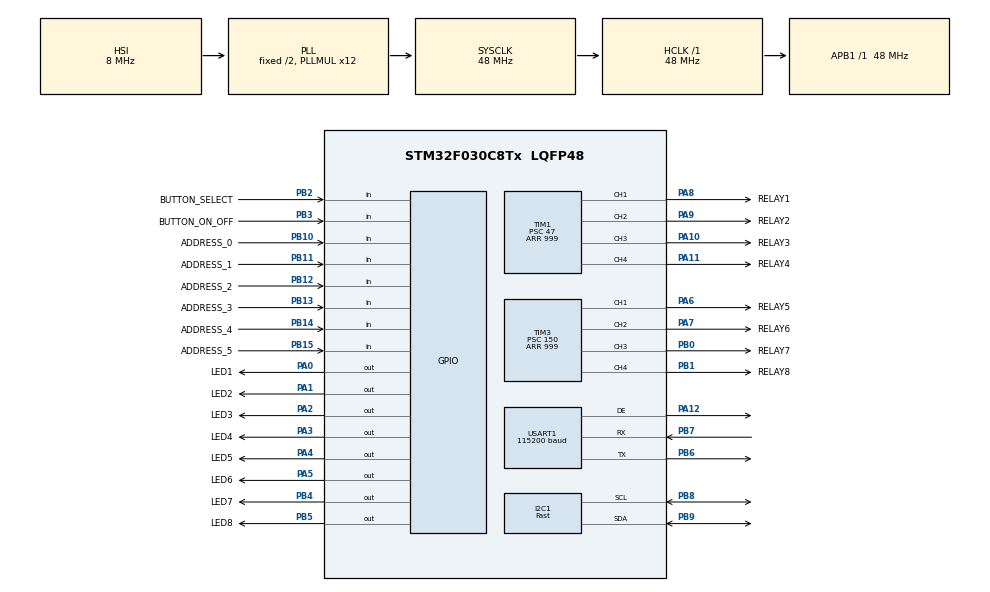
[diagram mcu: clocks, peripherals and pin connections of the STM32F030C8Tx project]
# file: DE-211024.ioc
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I2C1.I2C_Speed_Mode=I2C_Fast
I2C1.Timing=0x0010020A
Mcu.Family=STM32F0
Mcu.Name=STM32F030C8Tx
Mcu.Package=LQFP48
NVIC.USART1_IRQn=true\:0\:0\:false\:false\:true\:true\:true\:true
PA0.GPIO_Label=LED1
PA0.Signal=GPIO_Output
PA1.GPIO_Label=LED2
PA1.Signal=GPIO_Output
PA10.GPIO_Label=RELAY3
PA10.Signal=S_TIM1_CH3
PA11.GPIO_Label=RELAY4
PA11.Signal=S_TIM1_CH4
PA12.Mode=Hardware Flow Control (RS485)
PA12.Signal=USART1_DE
PA13.Mode=Serial_Wire
PA13.Signal=SYS_SWDIO
PA14.Mode=Serial_Wire
PA14.Signal=SYS_SWCLK
PA2.GPIO_Label=LED3
PA2.Signal=GPIO_Output
PA3.GPIO_Label=LED4
PA3.Signal=GPIO_Output
PA4.GPIO_Label=LED5
PA4.Signal=GPIO_Output
PA5.GPIO_Label=LED6
PA5.Signal=GPIO_Output
PA6.GPIO_Label=RELAY5
PA6.Signal=S_TIM3_CH1
PA7.GPIO_Label=RELAY6
PA7.Signal=S_TIM3_CH2
PA8.GPIO_Label=RELAY1
PA8.Signal=S_TIM1_CH1
PA9.GPIO_Label=RELAY2
PA9.Signal=S_TIM1_CH2
PB0.GPIO_Label=RELAY7
PB0.Signal=S_TIM3_CH3
PB1.GPIO_Label=RELAY8
PB1.Signal=S_TIM3_CH4
PB10.GPIO_Label=ADDRESS_0
PB10.GPIO_PuPd=GPIO_PULLUP
PB10.Signal=GPIO_Input
PB11.GPIO_Label=ADDRESS_1
PB11.GPIO_PuPd=GPIO_PULLUP
PB11.Signal=GPIO_Input
PB12.GPIO_Label=ADDRESS_2
PB12.GPIO_PuPd=GPIO_PULLUP
PB12.Signal=GPIO_Input
PB13.GPIO_Label=ADDRESS_3
PB13.GPIO_PuPd=GPIO_PULLUP
PB13.Signal=GPIO_Input
PB14.GPIO_Label=ADDRESS_4
PB14.GPIO_PuPd=GPIO_PULLUP
PB14.Signal=GPIO_Input
PB15.GPIO_Label=ADDRESS_5
PB15.GPIO_PuPd=GPIO_PULLUP
PB15.Signal=GPIO_Input
PB2.GPIO_Label=BUTTON_SELECT
PB2.GPIO_PuPd=GPIO_PULLUP
PB2.Signal=GPIO_Input
PB3.GPIO_Label=BUTTON_ON_OFF
PB3.GPIO_PuPd=GPIO_PULLUP
PB3.Signal=GPIO_Input
PB4.GPIO_Label=LED7
PB4.Signal=GPIO_Output
PB5.GPIO_Label=LED8
PB5.Signal=GPIO_Output
PB6.Mode=Asynchronous
PB6.Signal=USART1_TX
PB7.Mode=Asynchronous
PB7.Signal=USART1_RX
PB8.Mode=I2C
PB8.Signal=I2C1_SCL
PB9.Mode=I2C
PB9.Signal=I2C1_SDA
ProjectManager.HeapSize=0x200
ProjectManager.StackSize=0x400
ProjectManager.TargetToolchain=MDK-ARM V5.32
RCC.AHBFreq_Value=48000000
RCC.APB1Freq_Value=48000000
RCC.APB1TimFreq_Value=48000000
RCC.HCLKFreq_Value=48000000
RCC.PLLMUL=RCC_PLL_MUL12
RCC.SYSCLKFreq_VALUE=48000000
RCC.SYSCLKSource=RCC_SYSCLKSOURCE_PLLCLK
SH.S_TIM1_CH1.0=TIM1_CH1,PWM Generation1 CH1
SH.S_TIM1_CH2.0=TIM1_CH2,PWM Generation2 CH2
SH.S_TIM1_CH3.0=TIM1_CH3,PWM Generation3 CH3
SH.S_TIM1_CH4.0=TIM1_CH4,PWM Generation4 CH4
SH.S_TIM3_CH1.0=TIM3_CH1,PWM Generation1 CH1
SH.S_TIM3_CH2.0=TIM3_CH2,PWM Generation2 CH2
SH.S_TIM3_CH3.0=TIM3_CH3,PWM Generation3 CH3
SH.S_TIM3_CH4.0=TIM3_CH4,PWM Generation4 CH4
TIM1.Channel-PWM\ Generation1\ CH1=TIM_CHANNEL_1
TIM1.Channel-PWM\ Generation2\ CH2=TIM_CHANNEL_2
TIM1.Channel-PWM\ Generation3\ CH3=TIM_CHANNEL_3
TIM1.Channel-PWM\ Generation4\ CH4=TIM_CHANNEL_4
TIM1.Period=999
TIM1.Prescaler=47
TIM3.Channel-PWM\ Generation1\ CH1=TIM_CHANNEL_1
TIM3.Channel-PWM\ Generation2\ CH2=TIM_CHANNEL_2
TIM3.Channel-PWM\ Generation3\ CH3=TIM_CHANNEL_3
TIM3.Channel-PWM\ Generation4\ CH4=TIM_CHANNEL_4
TIM3.Period=999
TIM3.Prescaler=150
USART1.BaudRate=115200
USART1.VirtualMode-Asynchronous=VM_ASYNC
USART1.VirtualMode-Hardware\ Flow\ Control\ (RS485)=VM_ASYNC
VP_CRC_VS_CRC.Mode=CRC_Activate
VP_IWDG_VS_IWDG.Mode=IWDG_Activate
VP_TIM1_VS_ClockSourceINT.Mode=Internal
VP_TIM3_VS_ClockSourceINT.Mode=Internal
board=custom

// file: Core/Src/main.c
/* USER CODE BEGIN Header */
/**
  ******************************************************************************
  * @file           : main.c
  * @brief          : Main program body
  ******************************************************************************
  * @attention
  *
  * Copyright (c) 2025 STMicroelectronics.
  * All rights reserved.
  *
  * This software is licensed under terms that can be found in the LICENSE file
  * in the root directory of this software component.
  * If no LICENSE file comes with this software, it is provided AS-IS.
  *
  ******************************************************************************
  */
/* USER CODE END Header */
#include "main.h"

/* USER CODE BEGIN Includes */
#include <stdio.h>
#include <string.h>
#include <stdarg.h>
#include <stdlib.h>
/* USER CODE END Includes */

/* USER CODE BEGIN PTD */
// Struktura za pracenje stanja releja
typedef struct {
    uint8_t last_state;
    uint32_t timer;  // Vreme kada je relej poslednji put pre�ao u PWM
} RelayState;

RelayState relayStates[8];  // Struktura za 8 releja
/* USER CODE END PTD */

/* USER CODE BEGIN PD */
#define DIMRXBUF_SIZE 16
#define NUMBER_OF_RELAY 8
#define MENU_TIMEOUT 10000 // 10 sekundi timeout
#define SHORT_PRESS_MIN 10  // 10 ms
#define SHORT_PRESS_MAX 200 // 200 ms
#define LONG_PRESS_MIN 1000 // 1 sekunda
#define RESET_PRESS_MIN 5000 // 5 sekunda
#define LONG_PRESS_INTERVAL 5 // Brzina promjene kod dugog pritiska
#define INCREMENT_STEP 5   // Korak inkrementacije za dugi pritisak
#define TOGGLE_INTERVAL 200 // Period treptanja LED
#define ERROR_TOGGLE_INTERVAL 50 // Period treptanja LED kod greï¿½ke
#define BUTTON_PAUSE    200 // dodatni debouncing
/* USER CODE END PD */

CRC_HandleTypeDef hcrc;

I2C_HandleTypeDef hi2c1;

IWDG_HandleTypeDef hiwdg;

TIM_HandleTypeDef htim1;
TIM_HandleTypeDef htim3;

UART_HandleTypeDef huart1;

/* USER CODE BEGIN PV */
TinyFrame tfapp;

GPIO_TypeDef *LED_PORT[8] = {GPIOA, GPIOA, GPIOA, GPIOA, GPIOA, GPIOA, GPIOB, GPIOB};
uint16_t LED_PIN[8] = {GPIO_PIN_0, GPIO_PIN_1, GPIO_PIN_2, GPIO_PIN_3,GPIO_PIN_4 ,GPIO_PIN_5 ,GPIO_PIN_4 ,GPIO_PIN_5};

volatile uint8_t selected_channel = 7;
volatile uint8_t menu_activ = 0;
volatile uint32_t menu_timer = 0;
volatile uint8_t toggle_state = 0;
volatile uint8_t error_state = 0;
volatile uint32_t last_press_time = 0;
volatile uint32_t last_toggle_time = 0;
volatile uint32_t last_check_time = 0;
volatile uint32_t last_err_toggle_time = 0;
volatile uint32_t last_increment_time = 0;
uint8_t button_select_prev = 0, button_onoff_prev = 0;

// Definicije za stanja releja
uint8_t relay_states[8] = {0};      // Trenutnostanje releja
uint8_t relay_old_states[8] = {0};  // Flagovi promjene stanja releja
uint8_t relay_duty_cycle = 50;      // Pocetni duty cycle (50%)

static uint32_t current_tick = 0;   // trenutni vremenski otisak
static uint32_t pause_tick = 0;     // vremenski otisak za pauzu od 10000ms
static uint32_t pause = 100;
static uint8_t i = 0;               // trenutni broj releja
static uint8_t t = 0;               // stanje releja (0 ili 1)

static uint8_t my_address = 0;
static uint16_t rel_start = 0;
static uint16_t rel_end = 0;
bool init_tf = false;
bool restart = false;
uint8_t rec, multiplier = 1;
/* USER CODE END PV */

void SystemClock_Config(void);
static void MX_GPIO_Init(void);
static void MX_CRC_Init(void);
static void MX_I2C1_Init(void);
static void MX_IWDG_Init(void);
static void MX_TIM1_Init(void);
static void MX_TIM3_Init(void);
static void MX_USART1_UART_Init(void);
/* USER CODE BEGIN PFP */
void RS485_Init(void);
/* USER CODE END PFP */

/* USER CODE BEGIN 0 */
/**
  * @brief  staticka inline funkcija pauze 1~2ms za kašnjenje odgovora za stabilne repeatere
  *         u interruptu se ne može koristiti HAL_GetTick ni HAL_Delay tako da ova funkcija
  *         obezbjeduje kašnjenje oko 1 ms bez hal drivera gubljenjem vremena izvršavanjem
  *         ciklusa koji ne rade ništa
  * @param
  * @retval
  */
static inline void delay_us(uint32_t us) {
    volatile uint32_t cycles = (HAL_RCC_GetHCLKFreq() / 20000000) * us;  // Smanjen faktor
    while (cycles--) {
        __asm volatile("NOP");  // Izbegava optimizaciju
    }
}
/**
  * @brief  mali efekt sa LED diodama prednjeg panela kod ukljucenja
  * @param
  * @retval
  */
void start_effect(void) {
    const uint8_t order[][2] = {
        {4, 5}, {3, 6}, {2, 7}, {1, 8}, // Paljenje
        {4, 5}, {3, 6}, {2, 7}, {1, 8}  // Gašenje
    };
    HAL_Delay(300);
    for (int i = 0; i < 8; i++) {
        GPIO_PinState state = (i < 4) ? GPIO_PIN_SET : GPIO_PIN_RESET;
        HAL_GPIO_WritePin(LED_PORT[order[i][0] - 1], LED_PIN[order[i][0] - 1], state);
        HAL_GPIO_WritePin(LED_PORT[order[i][1] - 1], LED_PIN[order[i][1] - 1], state);
        HAL_Delay(50);
#ifdef USE_WATCHDOG
        HAL_IWDG_Refresh(&hiwdg);
#endif
    }
}
/**
  * @brief  podesi adresu modula dimera na busu prema poziciji DIP switcha
  * @param
  * @retval
  */
void get_address(void)
{
    my_address = 0;
    if ((HAL_GPIO_ReadPin(ADDRESS_0_GPIO_Port, ADDRESS_0_Pin) == GPIO_PIN_RESET))   my_address |= 0x01;
    if ((HAL_GPIO_ReadPin(ADDRESS_1_GPIO_Port, ADDRESS_1_Pin) == GPIO_PIN_RESET))   my_address |= 0x02;
    if ((HAL_GPIO_ReadPin(ADDRESS_2_GPIO_Port, ADDRESS_2_Pin) == GPIO_PIN_RESET))   my_address |= 0x04;
    if ((HAL_GPIO_ReadPin(ADDRESS_3_GPIO_Port, ADDRESS_3_Pin) == GPIO_PIN_RESET))   my_address |= 0x08;
    if ((HAL_GPIO_ReadPin(ADDRESS_4_GPIO_Port, ADDRESS_4_Pin) == GPIO_PIN_RESET))   my_address |= 0x10;
    if ((HAL_GPIO_ReadPin(ADDRESS_5_GPIO_Port, ADDRESS_5_Pin) == GPIO_PIN_RESET))   my_address |= 0x20;
    if(my_address)
    {
        rel_start = (NUMBER_OF_RELAY*multiplier*(my_address-1))+1;
        rel_end = rel_start + (NUMBER_OF_RELAY*multiplier)-1;
    }
}
/**
  * @brief  funkcija za kontrolu releja koja kod uključenja relej starta sa punim izlazom a nakon
  *         inicijalnog stanja prelazi u 60% pwm mod, tako da je grijanje releja svedeno na minimum
  * @param
  * @retval
  */
void relay_update(uint8_t relay_num, uint8_t state)
{
    static uint32_t last_state[8] = {0};        // flag prošlog stanaja tako da sam o prva promjena utiče na funkciju
    static uint32_t last_change_time[8] = {0};  // Čuvanje vremena poslednje promene stanja za svaki relej
    static uint32_t pwm_duty_cycle[8] = {0};  // Početni duty cycle za svaki relej (100% kada je uključen)
    uint32_t current_tick = HAL_GetTick();      // Vreme u milisekundama

    // Proveri sve releje svaki put kada se funkcija pozove
    for (int i = 0; i < 8; i++) {
        // Ako je prošlo više od 1000 ms (1 sekunda) od poslednje promene za taj relej
        if (current_tick - last_change_time[i] >= 1000) {
            if (pwm_duty_cycle[i] == 100) {
                pwm_duty_cycle[i] = 60;  // Prebaci PWM na 60% nakon 1 sekunde
            }
        }
    }

    // Ako je stanje 1 (uključi relej)
    if ((state == 1) && !last_state[relay_num]) {
        last_state[relay_num] = state;
        last_change_time[relay_num] = current_tick;  // Ažuriraj poslednje vreme kada je stanje promenjeno
        pwm_duty_cycle[relay_num] = 100;  // PWM na 100%
    }
    // Ako je stanje 0 (isključi relej)
    else if ((state == 0) && last_state[relay_num]) {
        last_state[relay_num] = state;
        pwm_duty_cycle[relay_num] = 0;  // Postavi PWM na 0%
        last_change_time[relay_num] = current_tick;  // Ažuriraj poslednje vreme kada je stanje promenjeno
    }

    __HAL_TIM_SET_COMPARE(&htim1, TIM_CHANNEL_1, (htim1.Init.Period + 1) * pwm_duty_cycle[0] / 100);
    __HAL_TIM_SET_COMPARE(&htim1, TIM_CHANNEL_2, (htim1.Init.Period + 1) * pwm_duty_cycle[1] / 100);
    __HAL_TIM_SET_COMPARE(&htim1, TIM_CHANNEL_3, (htim1.Init.Period + 1) * pwm_duty_cycle[2] / 100);
    __HAL_TIM_SET_COMPARE(&htim1, TIM_CHANNEL_4, (htim1.Init.Period + 1) * pwm_duty_cycle[3] / 100);
    __HAL_TIM_SET_COMPARE(&htim3, TIM_CHANNEL_1, (htim3.Init.Period + 1) * pwm_duty_cycle[4] / 100);
    __HAL_TIM_SET_COMPARE(&htim3, TIM_CHANNEL_2, (htim3.Init.Period + 1) * pwm_duty_cycle[5] / 100);
    __HAL_TIM_SET_COMPARE(&htim3, TIM_CHANNEL_3, (htim3.Init.Period + 1) * pwm_duty_cycle[6] / 100);
    __HAL_TIM_SET_COMPARE(&htim3, TIM_CHANNEL_4, (htim3.Init.Period + 1) * pwm_duty_cycle[7] / 100);

    for(int i = 0; i < 8; i++)
    {
        relay_states[i] = (pwm_duty_cycle[i] > 0) ? 1:0;

    }
}
/**
  * @brief  kopira stanje izlaza na LED prednjeg panela
  * @param
  * @retval
  */
void refresh_led(void)
{
    for (uint8_t i = 0; i < 8; i++)
    {
        HAL_GPIO_WritePin(LED_PORT[i], LED_PIN[i], (relay_states[i] > 0) ? GPIO_PIN_SET : GPIO_PIN_RESET);
    }
}
/**
  * @brief  reaguje na pritisak tastera na prednjem panelu modula
  * @param
  * @retval
  */
void handle_buttons(void)
{
    uint32_t current_time = HAL_GetTick();
    uint8_t button_select = HAL_GPIO_ReadPin(GPIOB, GPIO_PIN_2);
    uint8_t button_onoff = HAL_GPIO_ReadPin(GPIOB, GPIO_PIN_3);

    if (button_select == GPIO_PIN_RESET) {
        if (!button_select_prev) {
            button_select_prev = 1; // lock press time load
            menu_activ = 1;
            toggle_state = 1;
            if(++selected_channel > 7) selected_channel = 0;
            menu_timer = current_time + MENU_TIMEOUT;
            last_press_time = current_time; // load first press time
            refresh_led();
            get_address();
            HAL_Delay(BUTTON_PAUSE);
        }
        else if (error_state && (current_time - last_press_time > RESET_PRESS_MIN))
        {

        }
    }
    else if ((button_select == GPIO_PIN_SET) && button_select_prev)
    {
        button_select_prev = 0;
        HAL_Delay(BUTTON_PAUSE);
        refresh_led();
    }

    if (menu_activ && (button_onoff == GPIO_PIN_RESET)) {
        if (!button_onoff_prev) {
            button_onoff_prev = 1; // lock press time load
            last_press_time = current_time; // load first press time
            if(relay_states[selected_channel] > 0) relay_states[selected_channel] = 0;
            else relay_states[selected_channel] = 1;

            HAL_Delay(BUTTON_PAUSE);
        }
        menu_timer = current_time + MENU_TIMEOUT;
    }
    else if ((button_onoff == GPIO_PIN_SET) && button_onoff_prev)
    {
        button_onoff_prev = 0; // release button press
        HAL_Delay(BUTTON_PAUSE);
    }
}
/**
  * @brief  logika korisnickog menija sa led diodama i tasterima na prednjem panelu modula
  * @param
  * @retval
  */
void menu_logic(void)
{
    uint32_t current_time = HAL_GetTick();

    if (current_time > menu_timer) {
        selected_channel = 7;
        menu_activ = 0;
        toggle_state = 0;
        refresh_led();
    }

    // Definiši vremenske intervale zavisno od relay_states
    uint32_t on_time, off_time;
    if (relay_states[selected_channel] == 1) {
        on_time = TOGGLE_INTERVAL * 3;  // LED ON 3x duže
        off_time = TOGGLE_INTERVAL;     // LED OFF normalno
    } else {
        on_time = TOGGLE_INTERVAL;      // LED ON normalno
        off_time = TOGGLE_INTERVAL * 3; // LED OFF 75% duže
    }

    uint32_t toggle_period = toggle_state ? on_time : off_time;

    if (current_time - last_toggle_time >= toggle_period) {
        HAL_GPIO_TogglePin(LED_PORT[selected_channel], LED_PIN[selected_channel]);
        toggle_state = !toggle_state;  // Promena stanja
        last_toggle_time = current_time;
    }
}
/**
  * @brief  funkcija obezbjeđuje ispravan poziv update releja kod
  *         brze izmjene stanja sa busa, svaki relej će preći iz
  *         100% u 60% pwm mod kada je uključen
  * @param
  * @retval
  */
void set_relay(void)
{
    static uint32_t set_tmr = 0;
    for(int i = 0; i < NUMBER_OF_RELAY; i++)
    {
        if(relay_states[i] != relay_old_states[i])
        {
            set_tmr = HAL_GetTick();
            relay_old_states[i] = relay_states[i];
            relay_update(i, relay_states[i]);
        }
    }
    if(set_tmr && ((HAL_GetTick() - set_tmr) >= 1000))
    {
        set_tmr = 0;
        for(int i = 0; i < NUMBER_OF_RELAY; i++)
        {
            relay_update(i, relay_states[i]);
        }
    }
}
/* USER CODE END 0 */

int main(void)
{

    /* MCU Configuration--------------------------------------------------------*/

    /* Reset of all peripherals, Initializes the Flash interface and the Systick. */
    HAL_Init();

    /* Configure the system clock */
    SystemClock_Config();

    /* Initialize all configured peripherals */
    MX_GPIO_Init();
    MX_CRC_Init();
    MX_I2C1_Init();
    MX_IWDG_Init();
    MX_TIM1_Init();
    MX_TIM3_Init();
    MX_USART1_UART_Init();
    /* USER CODE BEGIN 2 */
    RS485_Init();
    start_effect();
    start_effect();
    start_effect();
    get_address();
    /* USER CODE END 2 */

    /* Infinite loop */
    /* USER CODE BEGIN WHILE */
    while (1)
    {
        if(restart == true) Error_Handler();
        handle_buttons();
        menu_logic();
        /* USER CODE END WHILE */

        /* USER CODE BEGIN 3 */
        set_relay();

#ifdef USE_WATCHDOG
        HAL_IWDG_Refresh(&hiwdg);
#endif
    }
    /* USER CODE END 3 */
}

void SystemClock_Config(void)
{
    RCC_OscInitTypeDef RCC_OscInitStruct = {0};
    RCC_ClkInitTypeDef RCC_ClkInitStruct = {0};
    RCC_PeriphCLKInitTypeDef PeriphClkInit = {0};

    /** Initializes the RCC Oscillators according to the specified parameters
    * in the RCC_OscInitTypeDef structure.
    */
    RCC_OscInitStruct.OscillatorType = RCC_OSCILLATORTYPE_HSI|RCC_OSCILLATORTYPE_LSI;
    RCC_OscInitStruct.HSIState = RCC_HSI_ON;
    RCC_OscInitStruct.HSICalibrationValue = RCC_HSICALIBRATION_DEFAULT;
    RCC_OscInitStruct.LSIState = RCC_LSI_ON;
    RCC_OscInitStruct.PLL.PLLState = RCC_PLL_ON;
    RCC_OscInitStruct.PLL.PLLSource = RCC_PLLSOURCE_HSI;
    RCC_OscInitStruct.PLL.PLLMUL = RCC_PLL_MUL12;
    RCC_OscInitStruct.PLL.PREDIV = RCC_PREDIV_DIV1;
    if (HAL_RCC_OscConfig(&RCC_OscInitStruct) != HAL_OK)
    {
        Error_Handler();
    }

    /** Initializes the CPU, AHB and APB buses clocks
    */
    RCC_ClkInitStruct.ClockType = RCC_CLOCKTYPE_HCLK|RCC_CLOCKTYPE_SYSCLK
                                  |RCC_CLOCKTYPE_PCLK1;
    RCC_ClkInitStruct.SYSCLKSource = RCC_SYSCLKSOURCE_PLLCLK;
    RCC_ClkInitStruct.AHBCLKDivider = RCC_SYSCLK_DIV1;
    RCC_ClkInitStruct.APB1CLKDivider = RCC_HCLK_DIV1;

    if (HAL_RCC_ClockConfig(&RCC_ClkInitStruct, FLASH_LATENCY_1) != HAL_OK)
    {
        Error_Handler();
    }
    PeriphClkInit.PeriphClockSelection = RCC_PERIPHCLK_USART1|RCC_PERIPHCLK_I2C1;
    PeriphClkInit.Usart1ClockSelection = RCC_USART1CLKSOURCE_PCLK1;
    PeriphClkInit.I2c1ClockSelection = RCC_I2C1CLKSOURCE_HSI;
    if (HAL_RCCEx_PeriphCLKConfig(&PeriphClkInit) != HAL_OK)
    {
        Error_Handler();
    }
}

static void MX_CRC_Init(void)
{

    hcrc.Instance = CRC;
    hcrc.Init.DefaultInitValueUse = DEFAULT_INIT_VALUE_ENABLE;
    hcrc.Init.InputDataInversionMode = CRC_INPUTDATA_INVERSION_NONE;
    hcrc.Init.OutputDataInversionMode = CRC_OUTPUTDATA_INVERSION_DISABLE;
    hcrc.InputDataFormat = CRC_INPUTDATA_FORMAT_BYTES;
    if (HAL_CRC_Init(&hcrc) != HAL_OK)
    {
        Error_Handler();
    }

}

static void MX_I2C1_Init(void)
{

    hi2c1.Instance = I2C1;
    hi2c1.Init.Timing = 0x0010020A;
    hi2c1.Init.OwnAddress1 = 0;
    hi2c1.Init.AddressingMode = I2C_ADDRESSINGMODE_7BIT;
    hi2c1.Init.DualAddressMode = I2C_DUALADDRESS_DISABLE;
    hi2c1.Init.OwnAddress2 = 0;
    hi2c1.Init.OwnAddress2Masks = I2C_OA2_NOMASK;
    hi2c1.Init.GeneralCallMode = I2C_GENERALCALL_DISABLE;
    hi2c1.Init.NoStretchMode = I2C_NOSTRETCH_DISABLE;
    if (HAL_I2C_Init(&hi2c1) != HAL_OK)
    {
        Error_Handler();
    }

    /** Configure Analogue filter
    */
    if (HAL_I2CEx_ConfigAnalogFilter(&hi2c1, I2C_ANALOGFILTER_ENABLE) != HAL_OK)
    {
        Error_Handler();
    }

    /** Configure Digital filter
    */
    if (HAL_I2CEx_ConfigDigitalFilter(&hi2c1, 0) != HAL_OK)
    {
        Error_Handler();
    }

}

static void MX_IWDG_Init(void)
{

    /* USER CODE BEGIN IWDG_Init 0 */
#ifdef USE_WATCHDOG
    /* USER CODE END IWDG_Init 0 */

    hiwdg.Instance = IWDG;
    hiwdg.Init.Prescaler = IWDG_PRESCALER_64;
    hiwdg.Init.Window = 4095;
    hiwdg.Init.Reload = 4095;
    if (HAL_IWDG_Init(&hiwdg) != HAL_OK)
    {
        Error_Handler();
    }
    /* USER CODE BEGIN IWDG_Init 2 */
#endif
    /* USER CODE END IWDG_Init 2 */

}

static void MX_TIM1_Init(void)
{

    TIM_ClockConfigTypeDef sClockSourceConfig = {0};
    TIM_MasterConfigTypeDef sMasterConfig = {0};
    TIM_OC_InitTypeDef sConfigOC = {0};
    TIM_BreakDeadTimeConfigTypeDef sBreakDeadTimeConfig = {0};

    htim1.Instance = TIM1;
    htim1.Init.Prescaler = 150;
    htim1.Init.CounterMode = TIM_COUNTERMODE_UP;
    htim1.Init.Period = 999;
    htim1.Init.ClockDivision = TIM_CLOCKDIVISION_DIV1;
    htim1.Init.RepetitionCounter = 0;
    htim1.Init.AutoReloadPreload = TIM_AUTORELOAD_PRELOAD_DISABLE;
    if (HAL_TIM_Base_Init(&htim1) != HAL_OK)
    {
        Error_Handler();
    }
    sClockSourceConfig.ClockSource = TIM_CLOCKSOURCE_INTERNAL;
    if (HAL_TIM_ConfigClockSource(&htim1, &sClockSourceConfig) != HAL_OK)
    {
        Error_Handler();
    }
    if (HAL_TIM_PWM_Init(&htim1) != HAL_OK)
    {
        Error_Handler();
    }
    sMasterConfig.MasterOutputTrigger = TIM_TRGO_RESET;
    sMasterConfig.MasterSlaveMode = TIM_MASTERSLAVEMODE_DISABLE;
    if (HAL_TIMEx_MasterConfigSynchronization(&htim1, &sMasterConfig) != HAL_OK)
    {
        Error_Handler();
    }
    sConfigOC.OCMode = TIM_OCMODE_PWM1;
    sConfigOC.Pulse = 0;
    sConfigOC.OCPolarity = TIM_OCPOLARITY_HIGH;
    sConfigOC.OCNPolarity = TIM_OCNPOLARITY_HIGH;
    sConfigOC.OCFastMode = TIM_OCFAST_DISABLE;
    sConfigOC.OCIdleState = TIM_OCIDLESTATE_RESET;
    sConfigOC.OCNIdleState = TIM_OCNIDLESTATE_RESET;
    if (HAL_TIM_PWM_ConfigChannel(&htim1, &sConfigOC, TIM_CHANNEL_1) != HAL_OK)
    {
        Error_Handler();
    }
    if (HAL_TIM_PWM_ConfigChannel(&htim1, &sConfigOC, TIM_CHANNEL_2) != HAL_OK)
    {
        Error_Handler();
    }
    if (HAL_TIM_PWM_ConfigChannel(&htim1, &sConfigOC, TIM_CHANNEL_3) != HAL_OK)
    {
        Error_Handler();
    }
    if (HAL_TIM_PWM_ConfigChannel(&htim1, &sConfigOC, TIM_CHANNEL_4) != HAL_OK)
    {
        Error_Handler();
    }
    sBreakDeadTimeConfig.OffStateRunMode = TIM_OSSR_DISABLE;
    sBreakDeadTimeConfig.OffStateIDLEMode = TIM_OSSI_DISABLE;
    sBreakDeadTimeConfig.LockLevel = TIM_LOCKLEVEL_OFF;
    sBreakDeadTimeConfig.DeadTime = 0;
    sBreakDeadTimeConfig.BreakState = TIM_BREAK_DISABLE;
    sBreakDeadTimeConfig.BreakPolarity = TIM_BREAKPOLARITY_HIGH;
    sBreakDeadTimeConfig.AutomaticOutput = TIM_AUTOMATICOUTPUT_DISABLE;
    if (HAL_TIMEx_ConfigBreakDeadTime(&htim1, &sBreakDeadTimeConfig) != HAL_OK)
    {
        Error_Handler();
    }
    /* USER CODE BEGIN TIM1_Init 2 */
    // Pokretanje PWM-a
    HAL_TIM_PWM_Start(&htim1, TIM_CHANNEL_1);
    HAL_TIM_PWM_Start(&htim1, TIM_CHANNEL_2);
    HAL_TIM_PWM_Start(&htim1, TIM_CHANNEL_3);
    HAL_TIM_PWM_Start(&htim1, TIM_CHANNEL_4);
    /* USER CODE END TIM1_Init 2 */
    HAL_TIM_MspPostInit(&htim1);

}

static void MX_TIM3_Init(void)
{

    TIM_ClockConfigTypeDef sClockSourceConfig = {0};
    TIM_MasterConfigTypeDef sMasterConfig = {0};
    TIM_OC_InitTypeDef sConfigOC = {0};

    htim3.Instance = TIM3;
    htim3.Init.Prescaler = 150;
    htim3.Init.CounterMode = TIM_COUNTERMODE_UP;
    htim3.Init.Period = 999;
    htim3.Init.ClockDivision = TIM_CLOCKDIVISION_DIV1;
    htim3.Init.AutoReloadPreload = TIM_AUTORELOAD_PRELOAD_DISABLE;
    if (HAL_TIM_Base_Init(&htim3) != HAL_OK)
    {
        Error_Handler();
    }
    sClockSourceConfig.ClockSource = TIM_CLOCKSOURCE_INTERNAL;
    if (HAL_TIM_ConfigClockSource(&htim3, &sClockSourceConfig) != HAL_OK)
    {
        Error_Handler();
    }
    if (HAL_TIM_PWM_Init(&htim3) != HAL_OK)
    {
        Error_Handler();
    }
    sMasterConfig.MasterOutputTrigger = TIM_TRGO_RESET;
    sMasterConfig.MasterSlaveMode = TIM_MASTERSLAVEMODE_DISABLE;
    if (HAL_TIMEx_MasterConfigSynchronization(&htim3, &sMasterConfig) != HAL_OK)
    {
        Error_Handler();
    }
    sConfigOC.OCMode = TIM_OCMODE_PWM1;
    sConfigOC.Pulse = 0;
    sConfigOC.OCPolarity = TIM_OCPOLARITY_HIGH;
    sConfigOC.OCFastMode = TIM_OCFAST_DISABLE;
    if (HAL_TIM_PWM_ConfigChannel(&htim3, &sConfigOC, TIM_CHANNEL_1) != HAL_OK)
    {
        Error_Handler();
    }
    if (HAL_TIM_PWM_ConfigChannel(&htim3, &sConfigOC, TIM_CHANNEL_2) != HAL_OK)
    {
        Error_Handler();
    }
    if (HAL_TIM_PWM_ConfigChannel(&htim3, &sConfigOC, TIM_CHANNEL_3) != HAL_OK)
    {
        Error_Handler();
    }
    if (HAL_TIM_PWM_ConfigChannel(&htim3, &sConfigOC, TIM_CHANNEL_4) != HAL_OK)
    {
        Error_Handler();
    }
    /* USER CODE BEGIN TIM3_Init 2 */
    HAL_TIM_PWM_Start(&htim3, TIM_CHANNEL_1);
    HAL_TIM_PWM_Start(&htim3, TIM_CHANNEL_2);
    HAL_TIM_PWM_Start(&htim3, TIM_CHANNEL_3);
    HAL_TIM_PWM_Start(&htim3, TIM_CHANNEL_4);
    /* USER CODE END TIM3_Init 2 */
    HAL_TIM_MspPostInit(&htim3);

}

static void MX_USART1_UART_Init(void)
{

    huart1.Instance = USART1;
    huart1.Init.BaudRate = 115200;
    huart1.Init.WordLength = UART_WORDLENGTH_8B;
    huart1.Init.StopBits = UART_STOPBITS_1;
    huart1.Init.Parity = UART_PARITY_NONE;
    huart1.Init.Mode = UART_MODE_TX_RX;
    huart1.Init.HwFlowCtl = UART_HWCONTROL_NONE;
    huart1.Init.OverSampling = UART_OVERSAMPLING_16;
    huart1.Init.OneBitSampling = UART_ONE_BIT_SAMPLE_DISABLE;
    huart1.AdvancedInit.AdvFeatureInit = UART_ADVFEATURE_NO_INIT;
    if (HAL_RS485Ex_Init(&huart1, UART_DE_POLARITY_HIGH, 0, 0) != HAL_OK)
    {
        Error_Handler();
    }

}

static void MX_GPIO_Init(void)
{
    GPIO_InitTypeDef GPIO_InitStruct = {0};

    /* GPIO Ports Clock Enable */
    __HAL_RCC_GPIOA_CLK_ENABLE();
    __HAL_RCC_GPIOB_CLK_ENABLE();

    /*Configure GPIO pin Output Level */
    HAL_GPIO_WritePin(GPIOA, LED1_Pin|LED2_Pin|LED3_Pin|LED4_Pin
                      |LED5_Pin|LED6_Pin, GPIO_PIN_RESET);

    /*Configure GPIO pin Output Level */
    HAL_GPIO_WritePin(GPIOB, LED7_Pin|LED8_Pin, GPIO_PIN_RESET);

    /*Configure GPIO pins : LED1_Pin LED2_Pin LED3_Pin LED4_Pin
                             LED5_Pin LED6_Pin */
    GPIO_InitStruct.Pin = LED1_Pin|LED2_Pin|LED3_Pin|LED4_Pin
                          |LED5_Pin|LED6_Pin;
    GPIO_InitStruct.Mode = GPIO_MODE_OUTPUT_PP;
    GPIO_InitStruct.Pull = GPIO_NOPULL;
    GPIO_InitStruct.Speed = GPIO_SPEED_FREQ_LOW;
    HAL_GPIO_Init(GPIOA, &GPIO_InitStruct);

    /*Configure GPIO pins : BUTTON_SELECT_Pin ADDRESS_0_Pin ADDRESS_1_Pin ADDRESS_2_Pin
                             ADDRESS_3_Pin ADDRESS_4_Pin ADDRESS_5_Pin BUTTON_ON_OFF_Pin */
    GPIO_InitStruct.Pin = BUTTON_SELECT_Pin|ADDRESS_0_Pin|ADDRESS_1_Pin|ADDRESS_2_Pin
                          |ADDRESS_3_Pin|ADDRESS_4_Pin|ADDRESS_5_Pin|BUTTON_ON_OFF_Pin;
    GPIO_InitStruct.Mode = GPIO_MODE_INPUT;
    GPIO_InitStruct.Pull = GPIO_PULLUP;
    HAL_GPIO_Init(GPIOB, &GPIO_InitStruct);

    /*Configure GPIO pins : LED7_Pin LED8_Pin */
    GPIO_InitStruct.Pin = LED7_Pin|LED8_Pin;
    GPIO_InitStruct.Mode = GPIO_MODE_OUTPUT_PP;
    GPIO_InitStruct.Pull = GPIO_NOPULL;
    GPIO_InitStruct.Speed = GPIO_SPEED_FREQ_LOW;
    HAL_GPIO_Init(GPIOB, &GPIO_InitStruct);

}

/* USER CODE BEGIN 4 */
/**
  * @brief  Sluša bus za paket sa BINARY_SET tipom i provjerava adresirani izlaz
  *         ako je u sopstvenom opsegu reaguje na ostale ne odgovara
  * @param
  * @retval
  */
TF_Result BINARY_SET_Listener(TinyFrame *tf, TF_Msg *msg)
{
    uint8_t res = 0;
    uint16_t adr = (uint16_t) (msg->data[0] << 8) | msg->data[1]; // Kombinacija dva bajta u adresu
    uint8_t idx = adr - rel_start; // Izračunavanje indeksa releja
    uint8_t ret[4]; // Niz za vraćanje stanja

    // Proveravamo da li je adresa unutar opsega rel_start i rel_end
    if (my_address && adr && (adr >= rel_start) && (adr <= rel_end)) {

        if (msg->data[2] == 0x01) {
            relay_states[idx] = 1;  // Uključivanje releja
        } else if (msg->data[2] == 0x02) {
            relay_states[idx] = 0;  // Isključivanje releja
        }
        res++;  // Povećavamo broj uspešnih operacija
    }

    // Ako je došlo do promene stanja, vraćamo novo stanje
    if (res == 1) {
        ret[0] = msg->data[0];
        ret[1] = msg->data[1];
        if (relay_states[idx] == 1) {
            ret[2] = 1;  // Stanje 1 (ON)
        } else {
            ret[2] = 2;  // Stanje 2 (OFF)
        }
        ret[3] = ACK;
        msg->data = ret;  // Postavljamo novi niz za odgovor
        msg->len = 4;  // Dužina odgovora je 4
        TF_Respond(tf, msg);  // Odgovaramo sa novim stanjem
    }

    return TF_STAY;  // Održavanje trenutnog stanja
}
/**
  * @brief  Sluša bus za paket sa BINARY_GET tipom i provjerava adresirani izlaz
  *         ako je u sopstvenom opsegu odgovara sa stanjem na ostale ne odgovara
  * @param
  * @retval
  */
TF_Result BINARY_GET_Listener(TinyFrame *tf, TF_Msg *msg)
{
    uint16_t adr = (uint16_t) (msg->data[0] << 8) | msg->data[1]; // Kombinacija dva bajta u adresu
    uint8_t idx = adr - rel_start; // Izračunavanje indeksa releja
    uint8_t ret[3]; // Niz za vraćanje stanja

    // Proveravamo da li je adresa unutar opsega rel_start i rel_end
    if (my_address && adr && (adr >= rel_start) && (adr <= rel_end)) {
        ret[0] = msg->data[0];
        ret[1] = msg->data[1];
        if (relay_states[idx] == 1) {
            ret[2] = 1;  // Stanje 1 (ON)
        } else {
            ret[2] = 2;  // Stanje 2 (OFF)
        }
        msg->data = ret;  // Postavljamo novi niz za odgovor
        msg->len = 3;  // Dužina odgovora je 3
        TF_Respond(tf, msg);  // Odgovaramo sa novim stanjem
    }

    return TF_STAY;  // Održavanje trenutnog stanja
}
/**
  * @brief  Sluša bus za paket sa BINARY_RESET tipom i provjerava adresirani izlaz
  *         ako je u sopstvenom opsegu setuje flag odgovara i nakon odogovora pokreće reset
  * @param
  * @retval
  */
TF_Result BINARY_RESET_Listener(TinyFrame *tf, TF_Msg *msg)
{
    uint16_t adr = (uint16_t) (msg->data[0] << 8) | msg->data[1]; // Kombinacija dva bajta u adresu
    uint8_t idx = adr - rel_start; // Izračunavanje indeksa releja
    uint8_t ret[3]; // Niz za vraćanje stanja

    // Proveravamo da li je adresa unutar opsega rel_start i rel_end
    if (my_address && adr && (adr >= rel_start) && (adr <= rel_end)) {
        restart = true; // setujemo flag a ne restartujemo odmah da bi vratili odgovor
        ret[0] = msg->data[0];
        ret[1] = msg->data[1];
        ret[2] = ACK;
        msg->data = ret;  // Postavljamo novi niz za odgovor
        msg->len = 3;  // Dužina odgovora je 3
        TF_Respond(tf, msg);  // Odgovaramo sa novim stanjem
    }

    return TF_STAY;  // Održavanje trenutnog stanja
}
/**
  * @brief
  * @param
  * @retval
  */
void RS485_Init(void)
{
    if(!init_tf) {
        init_tf = TF_InitStatic(&tfapp, TF_SLAVE);
        TF_AddTypeListener(&tfapp, BINARY_GET, BINARY_GET_Listener);
        TF_AddTypeListener(&tfapp, BINARY_SET, BINARY_SET_Listener);
        TF_AddTypeListener(&tfapp, BINARY_RESET, BINARY_RESET_Listener);
    }
    HAL_UART_Receive_IT(&huart1, &rec, 1);
}
/**
  * @brief
  * @param
  * @retval
  */
void RS485_Tick(void)
{
    if (init_tf == true) {
        TF_Tick(&tfapp);
    }
}
/**
  * @brief
  * @param
  * @retval
  */
void TF_WriteImpl(TinyFrame *tf, const uint8_t *buff, uint32_t len)
{
    delay_us(2000); // puza kod odgovora zbog repeatera na linji
    HAL_UART_Transmit(&huart1,(uint8_t*)buff, len, RESP_TOUT);
    HAL_UART_Receive_IT(&huart1, &rec, 1);
}
/**
  * @brief
  * @param
  * @retval
  */
void HAL_UART_RxCpltCallback(UART_HandleTypeDef *huart)
{
    TF_AcceptChar(&tfapp, rec);
    HAL_UART_Receive_IT(&huart1, &rec, 1);
}
/**
  * @brief
  * @param
  * @retval
  */
void HAL_UART_TxCpltCallback(UART_HandleTypeDef *huart)
{
}
/**
  * @brief
  * @param
  * @retval
  */
void HAL_UART_ErrorCallback(UART_HandleTypeDef *huart)
{
    __HAL_UART_CLEAR_PEFLAG(&huart1);
    __HAL_UART_CLEAR_FEFLAG(&huart1);
    __HAL_UART_CLEAR_NEFLAG(&huart1);
    __HAL_UART_CLEAR_IDLEFLAG(&huart1);
    __HAL_UART_CLEAR_OREFLAG(&huart1);
    HAL_UART_AbortReceive(&huart1);
    HAL_UART_Receive_IT(&huart1, &rec, 1);
}
/* USER CODE END 4 */

void Error_Handler(void)
{
    /* USER CODE BEGIN Error_Handler_Debug */
    /* User can add his own implementation to report the HAL error return state */
    __disable_irq();
    HAL_CRC_MspDeInit(&hcrc);
    HAL_I2C_MspDeInit(&hi2c1);
    HAL_TIM_Base_MspDeInit(&htim1);
    HAL_TIM_Base_MspDeInit(&htim3);
    HAL_UART_MspDeInit(&huart1);
    while (1)
    {
        HAL_NVIC_SystemReset();
    }
    /* USER CODE END Error_Handler_Debug */
}
